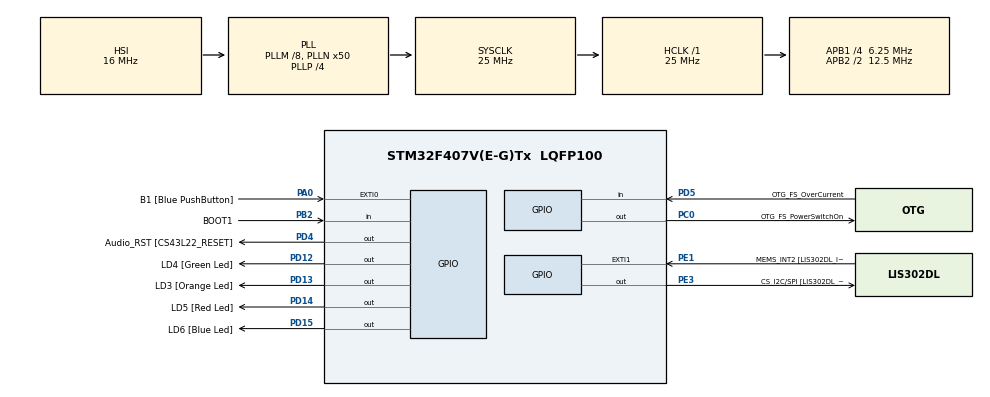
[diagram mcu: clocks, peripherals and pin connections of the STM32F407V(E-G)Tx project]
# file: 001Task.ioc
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Mcu.Family=STM32F4
Mcu.Name=STM32F407V(E-G)Tx
Mcu.Package=LQFP100
NVIC.PriorityGroup=NVIC_PRIORITYGROUP_4
NVIC.TIM6_DAC_IRQn=true\:0\:0\:false\:false\:true\:false\:true\:true
NVIC.TimeBase=TIM6_DAC_IRQn
NVIC.TimeBaseIP=TIM6
PA0-WKUP.GPIO_Label=B1 [Blue PushButton]
PA0-WKUP.Signal=GPXTI0
PA10.GPIO_Label=OTG_FS_ID
PA10.GPIO_Mode=GPIO_MODE_AF_PP
PA10.GPIO_PuPd=GPIO_NOPULL
PA10.GPIO_Speed=GPIO_SPEED_FREQ_LOW
PA10.Signal=USB_OTG_FS_ID
PA11.GPIO_Label=OTG_FS_DM
PA11.GPIO_Mode=GPIO_MODE_AF_PP
PA11.GPIO_PuPd=GPIO_NOPULL
PA11.GPIO_Speed=GPIO_SPEED_FREQ_LOW
PA11.Signal=USB_OTG_FS_DM
PA12.GPIO_Label=OTG_FS_DP
PA12.GPIO_Mode=GPIO_MODE_AF_PP
PA12.GPIO_PuPd=GPIO_NOPULL
PA12.GPIO_Speed=GPIO_SPEED_FREQ_LOW
PA12.Signal=USB_OTG_FS_DP
PA13.GPIO_Label=SWDIO
PA13.Signal=SYS_JTMS-SWDIO
PA14.GPIO_Label=SWCLK
PA14.Signal=SYS_JTCK-SWCLK
PA4.GPIO_Label=I2S3_WS [CS43L22_LRCK]
PA4.GPIO_Mode=GPIO_MODE_AF_PP
PA4.GPIO_PuPd=GPIO_NOPULL
PA4.GPIO_Speed=GPIO_SPEED_FREQ_LOW
PA4.Signal=I2S3_WS
PA5.GPIO_Label=SPI1_SCK [LIS302DL_SCL/SPC]
PA5.GPIO_Mode=GPIO_MODE_AF_PP
PA5.GPIO_PuPd=GPIO_NOPULL
PA5.GPIO_Speed=GPIO_SPEED_FREQ_LOW
PA5.Signal=SPI1_SCK
PA6.GPIO_Label=SPI1_MISO [LIS302DL_SDO]
PA6.GPIO_Mode=GPIO_MODE_AF_PP
PA6.GPIO_PuPd=GPIO_NOPULL
PA6.GPIO_Speed=GPIO_SPEED_FREQ_LOW
PA6.Signal=SPI1_MISO
PA7.GPIO_Label=SPI1_MOSI [LIS302DL_SDA/SDI/SDO]
PA7.GPIO_Mode=GPIO_MODE_AF_PP
PA7.GPIO_PuPd=GPIO_NOPULL
PA7.GPIO_Speed=GPIO_SPEED_FREQ_LOW
PA7.Signal=SPI1_MOSI
PA9.GPIO_Label=VBUS_FS
PA9.GPIO_Mode=GPIO_MODE_INPUT
PA9.GPIO_PuPd=GPIO_NOPULL
PA9.Signal=USB_OTG_FS_VBUS
PB10.GPIO_Label=CLK_IN [MP45DT02_CLK]
PB10.GPIO_Mode=GPIO_MODE_AF_PP
PB10.GPIO_PuPd=GPIO_NOPULL
PB10.GPIO_Speed=GPIO_SPEED_FREQ_LOW
PB10.Signal=I2S2_CK
PB2.GPIO_Label=BOOT1
PB2.GPIO_Mode=GPIO_MODE_INPUT
PB2.GPIO_PuPd=GPIO_NOPULL
PB2.Signal=GPIO_Input
PB3.GPIO_Label=SWO
PB3.Signal=SYS_JTDO-SWO
PB6.GPIO_Label=Audio_SCL [CS43L22_SCL]
PB6.GPIO_Mode=GPIO_MODE_AF_OD
PB6.GPIO_PuPd=GPIO_NOPULL
PB6.GPIO_Speed=GPIO_SPEED_FREQ_LOW
PB6.Signal=I2C1_SCL
PB9.GPIO_Label=Audio_SDA [CS43L22_SDA]
PB9.GPIO_Mode=GPIO_MODE_AF_OD
PB9.GPIO_PuPd=GPIO_NOPULL
PB9.GPIO_Speed=GPIO_SPEED_FREQ_LOW
PB9.Signal=I2C1_SDA
PC0.GPIO_Label=OTG_FS_PowerSwitchOn
PC0.GPIO_PuPd=GPIO_NOPULL
PC0.GPIO_Speed=GPIO_SPEED_FREQ_LOW
PC0.PinState=GPIO_PIN_SET
PC0.Signal=GPIO_Output
PC10.GPIO_Label=I2S3_SCK [CS43L22_SCLK]
PC10.GPIO_Mode=GPIO_MODE_AF_PP
PC10.GPIO_PuPd=GPIO_NOPULL
PC10.GPIO_Speed=GPIO_SPEED_FREQ_LOW
PC10.Signal=I2S3_CK
PC12.GPIO_Label=I2S3_SD [CS43L22_SDIN]
PC12.GPIO_Mode=GPIO_MODE_AF_PP
PC12.GPIO_PuPd=GPIO_NOPULL
PC12.GPIO_Speed=GPIO_SPEED_FREQ_LOW
PC12.Signal=I2S3_SD
PC14-OSC32_IN.GPIO_Label=PC14-OSC32_IN
PC14-OSC32_IN.Signal=RCC_OSC32_IN
PC15-OSC32_OUT.GPIO_Label=PC15-OSC32_OUT
PC15-OSC32_OUT.Signal=RCC_OSC32_OUT
PC3.GPIO_Label=PDM_OUT [MP45DT02_DOUT]
PC3.GPIO_Mode=GPIO_MODE_AF_PP
PC3.GPIO_PuPd=GPIO_NOPULL
PC3.GPIO_Speed=GPIO_SPEED_FREQ_LOW
PC3.Signal=I2S2_SD
PC7.GPIO_Label=I2S3_MCK [CS43L22_MCLK]
PC7.GPIO_Mode=GPIO_MODE_AF_PP
PC7.GPIO_PuPd=GPIO_NOPULL
PC7.GPIO_Speed=GPIO_SPEED_FREQ_LOW
PC7.Signal=I2S3_MCK
PD12.GPIO_Label=LD4 [Green Led]
PD12.GPIO_PuPd=GPIO_NOPULL
PD12.GPIO_Speed=GPIO_SPEED_FREQ_LOW
PD12.Signal=GPIO_Output
PD13.GPIO_Label=LD3 [Orange Led]
PD13.GPIO_PuPd=GPIO_NOPULL
PD13.GPIO_Speed=GPIO_SPEED_FREQ_LOW
PD13.Signal=GPIO_Output
PD14.GPIO_Label=LD5 [Red Led]
PD14.GPIO_PuPd=GPIO_NOPULL
PD14.GPIO_Speed=GPIO_SPEED_FREQ_LOW
PD14.Signal=GPIO_Output
PD15.GPIO_Label=LD6 [Blue Led]
PD15.GPIO_PuPd=GPIO_NOPULL
PD15.GPIO_Speed=GPIO_SPEED_FREQ_LOW
PD15.Signal=GPIO_Output
PD4.GPIO_Label=Audio_RST [CS43L22_RESET]
PD4.GPIO_PuPd=GPIO_NOPULL
PD4.GPIO_Speed=GPIO_SPEED_FREQ_LOW
PD4.Signal=GPIO_Output
PD5.GPIO_Label=OTG_FS_OverCurrent
PD5.GPIO_Mode=GPIO_MODE_INPUT
PD5.GPIO_PuPd=GPIO_NOPULL
PD5.Signal=GPIO_Input
PE1.GPIO_Label=MEMS_INT2 [LIS302DL_INT2]
PE1.GPIO_ModeDefaultEXTI=GPIO_MODE_EVT_RISING
PE1.GPIO_PuPd=GPIO_NOPULL
PE1.Signal=GPXTI1
PE3.GPIO_Label=CS_I2C/SPI [LIS302DL_CS_I2C/SPI]
PE3.GPIO_PuPd=GPIO_NOPULL
PE3.GPIO_Speed=GPIO_SPEED_FREQ_LOW
PE3.Signal=GPIO_Output
PH0-OSC_IN.GPIO_Label=PH0-OSC_IN
PH0-OSC_IN.Signal=RCC_OSC_IN
PH1-OSC_OUT.GPIO_Label=PH1-OSC_OUT
PH1-OSC_OUT.Signal=RCC_OSC_OUT
ProjectManager.HeapSize=0x200
ProjectManager.StackSize=0x400
ProjectManager.TargetToolchain=STM32CubeIDE
RCC.48MHZClocksFreq_Value=14285714.285714285
RCC.AHBFreq_Value=25000000
RCC.APB1CLKDivider=RCC_HCLK_DIV4
RCC.APB1Freq_Value=6250000
RCC.APB1TimFreq_Value=12500000
RCC.APB2CLKDivider=RCC_HCLK_DIV2
RCC.APB2Freq_Value=12500000
RCC.APB2TimFreq_Value=25000000
RCC.CortexFreq_Value=25000000
RCC.HCLKFreq_Value=25000000
RCC.HSE_VALUE=8000000
RCC.HSI_VALUE=16000000
RCC.LSE_VALUE=32768
RCC.PLLM=8
RCC.PLLN=50
RCC.PLLP=RCC_PLLP_DIV4
RCC.PLLQ=7
RCC.SYSCLKFreq_VALUE=25000000
RCC.SYSCLKSource=RCC_SYSCLKSOURCE_PLLCLK
RCC.VCOOutputFreq_Value=100000000
VP_SYS_VS_tim6.Mode=TIM6
board=STM32F407G-DISC1

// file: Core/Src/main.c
/* USER CODE BEGIN Header */
/**
  ******************************************************************************
  * @file           : main.c
  * @brief          : Main program body
  ******************************************************************************
  * @attention
  *
  * Copyright (c) 2024 STMicroelectronics.
  * All rights reserved.
  *
  * This software is licensed under terms that can be found in the LICENSE file
  * in the root directory of this software component.
  * If no LICENSE file comes with this software, it is provided AS-IS.
  *
  ******************************************************************************
  */
/* USER CODE END Header */
#include "main.h"

/* USER CODE BEGIN Includes */
#include <stdio.h>
#include "FreeRTOS.h"
#include "task.h"
/* USER CODE END Includes */

void SystemClock_Config(void);
static void MX_GPIO_Init(void);
/* USER CODE BEGIN PFP */
static void task1_handler(void* parameters);
static void task2_handler(void* parameters);
/* USER CODE END PFP */

int main(void)
{

  /* USER CODE BEGIN 1 */
	TaskHandle_t task1_handle;
	TaskHandle_t task2_handle;

	BaseType_t status;
  /* USER CODE END 1 */

  /* MCU Configuration--------------------------------------------------------*/

  /* Reset of all peripherals, Initializes the Flash interface and the Systick. */
  HAL_Init();

  /* Configure the system clock */
  SystemClock_Config();

  /* Initialize all configured peripherals */
  MX_GPIO_Init();
  /* USER CODE BEGIN 2 */
  status = xTaskCreate(task1_handler, "Task-1",200,"Hello world from Task-1",2,&task1_handle);

  configASSERT(status == pdPASS);

  status = xTaskCreate(task2_handler, "Task-2",200,"Hello world from Task-2",2,&task2_handle);

  configASSERT(status == pdPASS);

  vTaskStartScheduler();

  /* USER CODE END 2 */

  /* Infinite loop */
  while (1)
  {

  }
}

void SystemClock_Config(void)
{
  RCC_OscInitTypeDef RCC_OscInitStruct = {0};
  RCC_ClkInitTypeDef RCC_ClkInitStruct = {0};

  /** Configure the main internal regulator output voltage
  */
  __HAL_RCC_PWR_CLK_ENABLE();
  __HAL_PWR_VOLTAGESCALING_CONFIG(PWR_REGULATOR_VOLTAGE_SCALE1);

  /** Initializes the RCC Oscillators according to the specified parameters
  * in the RCC_OscInitTypeDef structure.
  */
  RCC_OscInitStruct.OscillatorType = RCC_OSCILLATORTYPE_HSI;
  RCC_OscInitStruct.HSIState = RCC_HSI_ON;
  RCC_OscInitStruct.HSICalibrationValue = RCC_HSICALIBRATION_DEFAULT;
  RCC_OscInitStruct.PLL.PLLState = RCC_PLL_ON;
  RCC_OscInitStruct.PLL.PLLSource = RCC_PLLSOURCE_HSI;
  RCC_OscInitStruct.PLL.PLLM = 8;
  RCC_OscInitStruct.PLL.PLLN = 50;
  RCC_OscInitStruct.PLL.PLLP = RCC_PLLP_DIV4;
  RCC_OscInitStruct.PLL.PLLQ = 7;
  if (HAL_RCC_OscConfig(&RCC_OscInitStruct) != HAL_OK)
  {
    Error_Handler();
  }

  /** Initializes the CPU, AHB and APB buses clocks
  */
  RCC_ClkInitStruct.ClockType = RCC_CLOCKTYPE_HCLK|RCC_CLOCKTYPE_SYSCLK
                              |RCC_CLOCKTYPE_PCLK1|RCC_CLOCKTYPE_PCLK2;
  RCC_ClkInitStruct.SYSCLKSource = RCC_SYSCLKSOURCE_PLLCLK;
  RCC_ClkInitStruct.AHBCLKDivider = RCC_SYSCLK_DIV1;
  RCC_ClkInitStruct.APB1CLKDivider = RCC_HCLK_DIV4;
  RCC_ClkInitStruct.APB2CLKDivider = RCC_HCLK_DIV2;

  if (HAL_RCC_ClockConfig(&RCC_ClkInitStruct, FLASH_LATENCY_0) != HAL_OK)
  {
    Error_Handler();
  }
}

static void MX_GPIO_Init(void)
{
  GPIO_InitTypeDef GPIO_InitStruct = {0};

  /* GPIO Ports Clock Enable */
  __HAL_RCC_GPIOE_CLK_ENABLE();
  __HAL_RCC_GPIOC_CLK_ENABLE();
  __HAL_RCC_GPIOH_CLK_ENABLE();
  __HAL_RCC_GPIOA_CLK_ENABLE();
  __HAL_RCC_GPIOB_CLK_ENABLE();
  __HAL_RCC_GPIOD_CLK_ENABLE();

  /*Configure GPIO pin Output Level */
  HAL_GPIO_WritePin(CS_I2C_SPI_GPIO_Port, CS_I2C_SPI_Pin, GPIO_PIN_RESET);

  /*Configure GPIO pin Output Level */
  HAL_GPIO_WritePin(OTG_FS_PowerSwitchOn_GPIO_Port, OTG_FS_PowerSwitchOn_Pin, GPIO_PIN_SET);

  /*Configure GPIO pin Output Level */
  HAL_GPIO_WritePin(GPIOD, LD4_Pin|LD3_Pin|LD5_Pin|LD6_Pin
                          |Audio_RST_Pin, GPIO_PIN_RESET);

  /*Configure GPIO pin : CS_I2C_SPI_Pin */
  GPIO_InitStruct.Pin = CS_I2C_SPI_Pin;
  GPIO_InitStruct.Mode = GPIO_MODE_OUTPUT_PP;
  GPIO_InitStruct.Pull = GPIO_NOPULL;
  GPIO_InitStruct.Speed = GPIO_SPEED_FREQ_LOW;
  HAL_GPIO_Init(CS_I2C_SPI_GPIO_Port, &GPIO_InitStruct);

  /*Configure GPIO pin : OTG_FS_PowerSwitchOn_Pin */
  GPIO_InitStruct.Pin = OTG_FS_PowerSwitchOn_Pin;
  GPIO_InitStruct.Mode = GPIO_MODE_OUTPUT_PP;
  GPIO_InitStruct.Pull = GPIO_NOPULL;
  GPIO_InitStruct.Speed = GPIO_SPEED_FREQ_LOW;
  HAL_GPIO_Init(OTG_FS_PowerSwitchOn_GPIO_Port, &GPIO_InitStruct);

  /*Configure GPIO pin : PDM_OUT_Pin */
  GPIO_InitStruct.Pin = PDM_OUT_Pin;
  GPIO_InitStruct.Mode = GPIO_MODE_AF_PP;
  GPIO_InitStruct.Pull = GPIO_NOPULL;
  GPIO_InitStruct.Speed = GPIO_SPEED_FREQ_LOW;
  GPIO_InitStruct.Alternate = GPIO_AF5_SPI2;
  HAL_GPIO_Init(PDM_OUT_GPIO_Port, &GPIO_InitStruct);

  /*Configure GPIO pin : B1_Pin */
  GPIO_InitStruct.Pin = B1_Pin;
  GPIO_InitStruct.Mode = GPIO_MODE_IT_RISING;
  GPIO_InitStruct.Pull = GPIO_NOPULL;
  HAL_GPIO_Init(B1_GPIO_Port, &GPIO_InitStruct);

  /*Configure GPIO pin : I2S3_WS_Pin */
  GPIO_InitStruct.Pin = I2S3_WS_Pin;
  GPIO_InitStruct.Mode = GPIO_MODE_AF_PP;
  GPIO_InitStruct.Pull = GPIO_NOPULL;
  GPIO_InitStruct.Speed = GPIO_SPEED_FREQ_LOW;
  GPIO_InitStruct.Alternate = GPIO_AF6_SPI3;
  HAL_GPIO_Init(I2S3_WS_GPIO_Port, &GPIO_InitStruct);

  /*Configure GPIO pins : SPI1_SCK_Pin SPI1_MISO_Pin SPI1_MOSI_Pin */
  GPIO_InitStruct.Pin = SPI1_SCK_Pin|SPI1_MISO_Pin|SPI1_MOSI_Pin;
  GPIO_InitStruct.Mode = GPIO_MODE_AF_PP;
  GPIO_InitStruct.Pull = GPIO_NOPULL;
  GPIO_InitStruct.Speed = GPIO_SPEED_FREQ_LOW;
  GPIO_InitStruct.Alternate = GPIO_AF5_SPI1;
  HAL_GPIO_Init(GPIOA, &GPIO_InitStruct);

  /*Configure GPIO pin : BOOT1_Pin */
  GPIO_InitStruct.Pin = BOOT1_Pin;
  GPIO_InitStruct.Mode = GPIO_MODE_INPUT;
  GPIO_InitStruct.Pull = GPIO_NOPULL;
  HAL_GPIO_Init(BOOT1_GPIO_Port, &GPIO_InitStruct);

  /*Configure GPIO pin : CLK_IN_Pin */
  GPIO_InitStruct.Pin = CLK_IN_Pin;
  GPIO_InitStruct.Mode = GPIO_MODE_AF_PP;
  GPIO_InitStruct.Pull = GPIO_NOPULL;
  GPIO_InitStruct.Speed = GPIO_SPEED_FREQ_LOW;
  GPIO_InitStruct.Alternate = GPIO_AF5_SPI2;
  HAL_GPIO_Init(CLK_IN_GPIO_Port, &GPIO_InitStruct);

  /*Configure GPIO pins : LD4_Pin LD3_Pin LD5_Pin LD6_Pin
                           Audio_RST_Pin */
  GPIO_InitStruct.Pin = LD4_Pin|LD3_Pin|LD5_Pin|LD6_Pin
                          |Audio_RST_Pin;
  GPIO_InitStruct.Mode = GPIO_MODE_OUTPUT_PP;
  GPIO_InitStruct.Pull = GPIO_NOPULL;
  GPIO_InitStruct.Speed = GPIO_SPEED_FREQ_LOW;
  HAL_GPIO_Init(GPIOD, &GPIO_InitStruct);

  /*Configure GPIO pins : I2S3_MCK_Pin I2S3_SCK_Pin I2S3_SD_Pin */
  GPIO_InitStruct.Pin = I2S3_MCK_Pin|I2S3_SCK_Pin|I2S3_SD_Pin;
  GPIO_InitStruct.Mode = GPIO_MODE_AF_PP;
  GPIO_InitStruct.Pull = GPIO_NOPULL;
  GPIO_InitStruct.Speed = GPIO_SPEED_FREQ_LOW;
  GPIO_InitStruct.Alternate = GPIO_AF6_SPI3;
  HAL_GPIO_Init(GPIOC, &GPIO_InitStruct);

  /*Configure GPIO pin : VBUS_FS_Pin */
  GPIO_InitStruct.Pin = VBUS_FS_Pin;
  GPIO_InitStruct.Mode = GPIO_MODE_INPUT;
  GPIO_InitStruct.Pull = GPIO_NOPULL;
  HAL_GPIO_Init(VBUS_FS_GPIO_Port, &GPIO_InitStruct);

  /*Configure GPIO pins : OTG_FS_ID_Pin OTG_FS_DM_Pin OTG_FS_DP_Pin */
  GPIO_InitStruct.Pin = OTG_FS_ID_Pin|OTG_FS_DM_Pin|OTG_FS_DP_Pin;
  GPIO_InitStruct.Mode = GPIO_MODE_AF_PP;
  GPIO_InitStruct.Pull = GPIO_NOPULL;
  GPIO_InitStruct.Speed = GPIO_SPEED_FREQ_LOW;
  GPIO_InitStruct.Alternate = GPIO_AF10_OTG_FS;
  HAL_GPIO_Init(GPIOA, &GPIO_InitStruct);

  /*Configure GPIO pin : OTG_FS_OverCurrent_Pin */
  GPIO_InitStruct.Pin = OTG_FS_OverCurrent_Pin;
  GPIO_InitStruct.Mode = GPIO_MODE_INPUT;
  GPIO_InitStruct.Pull = GPIO_NOPULL;
  HAL_GPIO_Init(OTG_FS_OverCurrent_GPIO_Port, &GPIO_InitStruct);

  /*Configure GPIO pins : Audio_SCL_Pin Audio_SDA_Pin */
  GPIO_InitStruct.Pin = Audio_SCL_Pin|Audio_SDA_Pin;
  GPIO_InitStruct.Mode = GPIO_MODE_AF_OD;
  GPIO_InitStruct.Pull = GPIO_NOPULL;
  GPIO_InitStruct.Speed = GPIO_SPEED_FREQ_LOW;
  GPIO_InitStruct.Alternate = GPIO_AF4_I2C1;
  HAL_GPIO_Init(GPIOB, &GPIO_InitStruct);

  /*Configure GPIO pin : MEMS_INT2_Pin */
  GPIO_InitStruct.Pin = MEMS_INT2_Pin;
  GPIO_InitStruct.Mode = GPIO_MODE_EVT_RISING;
  GPIO_InitStruct.Pull = GPIO_NOPULL;
  HAL_GPIO_Init(MEMS_INT2_GPIO_Port, &GPIO_InitStruct);

}

/* USER CODE BEGIN 4 */
static void task1_handler(void* parameters)
{
	while(1)
	{
		printf("%s\n", (char*) parameters);
		taskYIELD();
	}
}

static void task2_handler(void* parameters)
{
	while(1)
	{
		printf("%s\n", (char*) parameters);
		taskYIELD();
	}
}
/* USER CODE END 4 */

void HAL_TIM_PeriodElapsedCallback(TIM_HandleTypeDef *htim)
{
  if (htim->Instance == TIM6) {
    HAL_IncTick();
  }
}

void Error_Handler(void)
{
  __disable_irq();
  while (1)
  {
  }
}
